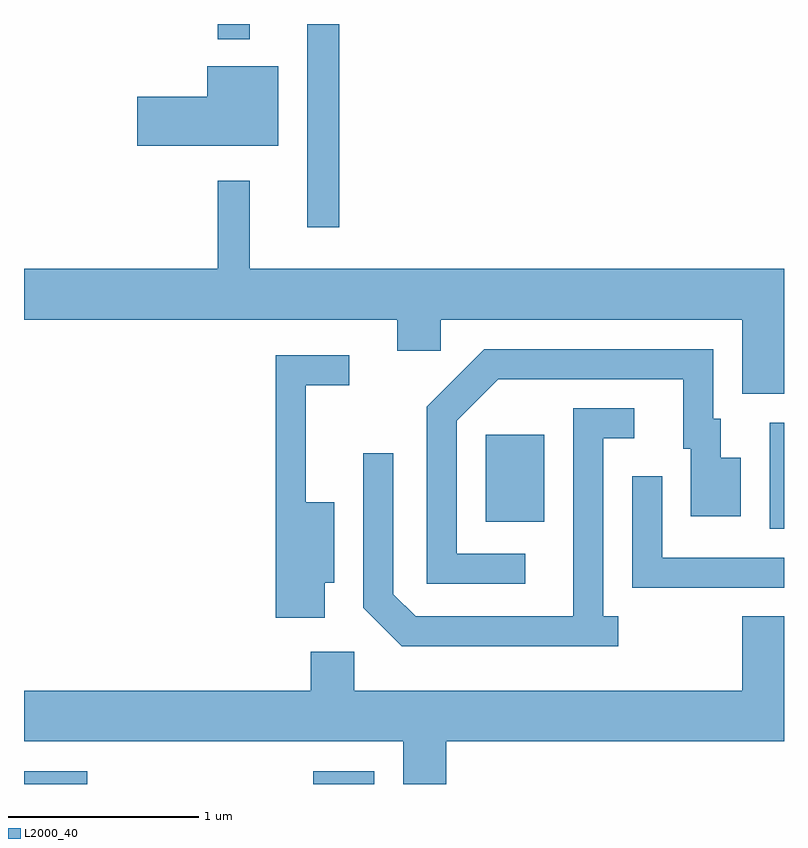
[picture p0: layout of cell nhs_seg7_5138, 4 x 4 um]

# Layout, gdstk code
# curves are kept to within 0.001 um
import gdstk
lib = gdstk.Library(unit=1e-6, precision=1e-09)
def R(c, l, rs):  # rectangles x0, y0, x1, y1
    for r in rs: c.add(gdstk.rectangle(r[:2], r[2:], *l))
def P(c, l, *ps):  # polygons
    for p in ps: c.add(gdstk.Polygon(p, *l))
L2000_40 = (2000, 40)

nhs_seg7_5138 = lib.new_cell('nhs_seg7_5138')
R(nhs_seg7_5138, L2000_40, [(341.611,1776.252,341.944,1776.319), (343.133,1776.252,343.454,1776.319), (345.536,1777.596,345.611,1778.154), (344.041,1777.631,344.349,1778.089), (343.101,1779.183,343.269,1780.252), (342.631,1780.173,342.799,1780.252)])
P(nhs_seg7_5138, L2000_40, [(342.949,1780.029),(342.576,1780.029),(342.576,1779.869),(342.206,1779.869),(342.206,1779.611),(342.949,1779.611)],
  [(345.611,1778.964),(342.799,1778.964),(342.799,1779.428),(342.631,1779.428),(342.631,1778.964),(341.611,1778.964),(341.611,1778.696),(343.576,1778.696),(343.576,1778.531),(343.804,1778.531),(343.804,1778.696),(345.391,1778.696),(345.391,1778.306),(345.611,1778.306)],
  [(344.248,1777.464),(343.889,1777.464),(343.889,1778.164),(344.107,1778.381),(345.081,1778.381),(345.081,1778.016),(345.121,1778.016),(345.121,1777.661),(345.384,1777.661),(345.384,1777.969),(345.279,1777.969),(345.279,1778.174),(345.239,1778.174),(345.239,1778.539),(344.034,1778.539),(343.731,1778.237),(343.731,1777.306),(344.248,1777.306)],
  [(343.194,1777.311),(343.244,1777.311),(343.244,1777.734),(343.094,1777.734),(343.094,1778.351),(343.323,1778.351),(343.323,1778.509),(342.936,1778.509),(342.936,1777.126),(343.194,1777.126)],
  [(344.738,1777.134),(344.659,1777.134),(344.659,1778.071),(344.823,1778.071),(344.823,1778.229),(344.501,1778.229),(344.501,1777.134),(343.672,1777.134),(343.554,1777.252),(343.554,1777.993),(343.396,1777.993),(343.396,1777.179),(343.599,1776.976),(344.738,1776.976)],
  [(345.611,1777.444),(344.969,1777.444),(344.969,1777.873),(344.811,1777.873),(344.811,1777.286),(345.611,1777.286)],
  [(343.834,1776.476),(345.611,1776.476),(345.611,1777.134),(345.391,1777.134),(345.391,1776.744),(343.349,1776.744),(343.349,1776.949),(343.121,1776.949),(343.121,1776.744),(341.611,1776.744),(341.611,1776.476),(343.606,1776.476),(343.606,1776.252),(343.834,1776.252)])

lib.write_gds('nhs_seg7_5138.gds')
